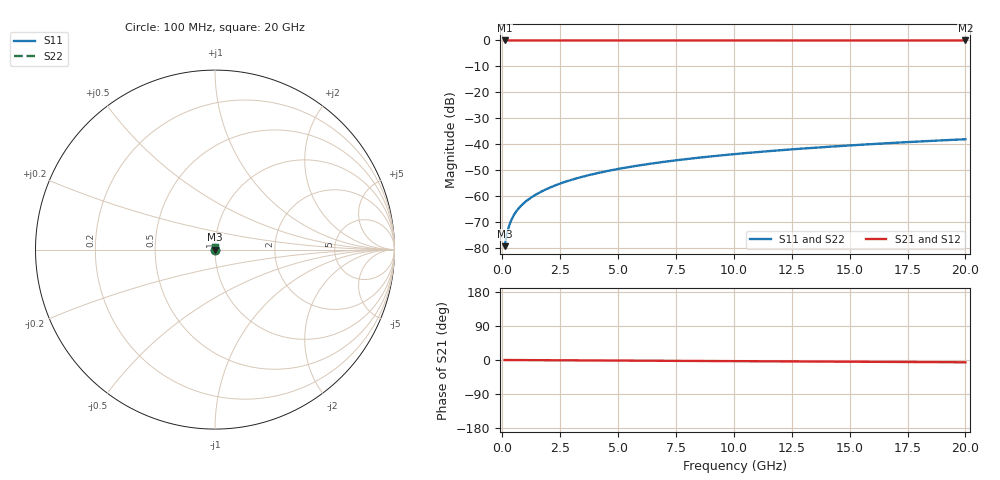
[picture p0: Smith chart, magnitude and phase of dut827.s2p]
! Touchstone file exported from HFSS 2026.1.0
!  File:  C:/ffzhzh/LocalFiles/Ansys_Project_Files/temp_train_TSV_827_1783184642_51560.aedt
!  Generated:  01:05:21 AM Jul  5, 2026
!  Design:  TSV
!  Project:  temp_train_TSV_827_1783184642_51560
! Variables:
!  h_bsmrdl = 2um
!  h_ox = 20um
!  h_rdl = 5um
!  h_sub = 52.82um
!  h_tmrdl = 5um
!  h_tsv = 52.82um
!  h_via = 3um
!  l_bsmrdl = 300um
!  l_sub = 426.88um
!  l_tmrdl = 200um
!  m_sub = 200um
!  pitch = 59.87um
!  r_tsv = 13.44um
!  s_tmrdl = 10um
!  w_bsmrdl = 18um
!  w_sub = 500um
!  w_tmrdl = 12um
!  x_tsv_center1 = 206um
!  x_tsv_center2 = 524um
!  x_tsv_center3 = 736um
!  x_tsv_center4 = 1054um
!  x_tsv_center5 = 1266um
!  x_tsv_center6 = 1584um
# GHz S MA R 50.000000
! Terminal data exported
! Port[1] = TSV1_1_T1
! Port[2] = TSV1_1_T2
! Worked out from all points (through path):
!   200 points, 100 MHz to 20 GHz, reference 50 ohm
!   highest |S21| = 0.00 dB at 100 MHz (marker M1); lowest = 0.0 dB at 20 GHz (marker M2)
!   lowest |S11| = -79.2 dB at 100 MHz (marker M3), VSWR 1.00, Z = 50 + j0.00904 ohm
!   |S11| at or under -10 dB: start of sweep to end of sweep
!   |S22| runs from -79.2 to -38.0 dB; largest |S21 - S12| = 1e-15
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0.1  0.0001094 55.7  0.9999 -0.0  0.9999 -0.0  0.0001094 55.7
! Gamma 0 0 0 0
! Port Impedance 50 0 50 0
0.2  0.0001918 68.6  0.9999 -0.1  0.9999 -0.1  0.0001918 68.6
0.3  0.0002758 72.5  0.9999 -0.1  0.9999 -0.1  0.0002758 72.5
0.4  0.0003571 74.1  0.9999 -0.1  0.9999 -0.1  0.0003571 74.1
0.5  0.0004347 74.9  0.9999 -0.2  0.9999 -0.2  0.0004347 74.9
0.6  0.000509 75.3  0.9999 -0.2  0.9999 -0.2  0.000509 75.3
0.7  0.0005805 75.7  0.9999 -0.2  0.9999 -0.2  0.0005805 75.7
0.9  0.0007175 76.4  0.9998 -0.3  0.9998 -0.3  0.0007175 76.4
1.1  0.0008498 77.1  0.9998 -0.3  0.9998 -0.3  0.0008498 77.1
1.3  0.00098 77.8  0.9998 -0.4  0.9998 -0.4  0.00098 77.8
1.6  0.001174 78.7  0.9998 -0.5  0.9998 -0.5  0.001174 78.7
1.9  0.001368 79.5  0.9998 -0.6  0.9998 -0.6  0.001368 79.5
2.6  0.00182 80.8  0.9997 -0.8  0.9997 -0.8  0.00182 80.8
3.5  0.0024 81.6  0.9997 -1.1  0.9997 -1.1  0.0024 81.6
4.2  0.002848 82.0  0.9997 -1.3  0.9997 -1.3  0.002848 82.0
5  0.003356 82.2  0.9996 -1.5  0.9996 -1.5  0.003356 82.2
6.8  0.004485 82.5  0.9996 -2.1  0.9996 -2.1  0.004485 82.5
8.3  0.005416 82.5  0.9995 -2.5  0.9995 -2.5  0.005416 82.5
10.1  0.006526 82.4  0.9995 -3.0  0.9995 -3.0  0.006526 82.4
13.4  0.008547 81.9  0.9994 -4.0  0.9994 -4.0  0.008547 81.9
16.7  0.01055 81.3  0.9993 -5.0  0.9993 -5.0  0.01055 81.3
20  0.01253 80.6  0.9992 -6.0  0.9992 -6.0  0.01253 80.6
